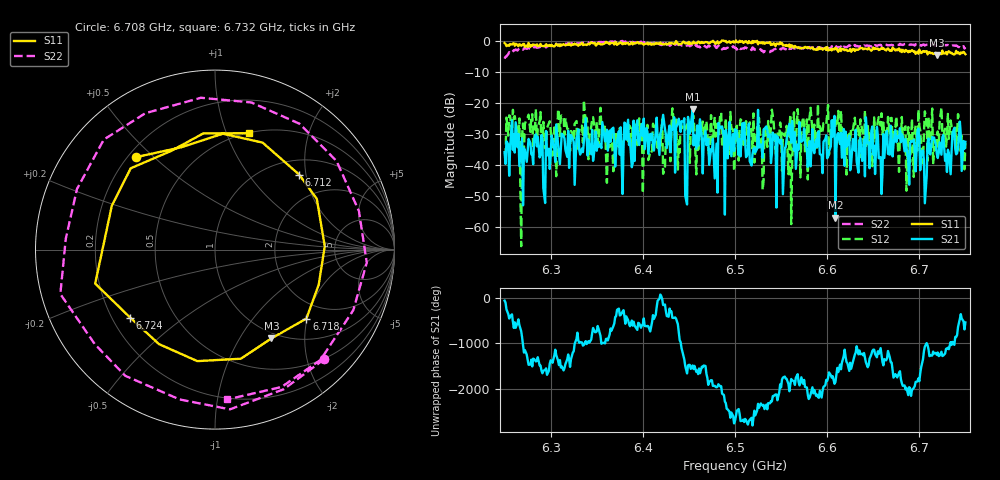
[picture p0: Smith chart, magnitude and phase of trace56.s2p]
# Hz S RI R 50
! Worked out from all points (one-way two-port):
!   401 points, 6.25 GHz to 6.75 GHz, reference 50 ohm
!   highest |S21| = -21.99 dB at 6.454 GHz (marker M1); lowest = -57.0 dB at 6.609 GHz (marker M2)
!   lowest |S11| = -4.6 dB at 6.719 GHz (marker M3), VSWR 3.83, Z = 45.9 - j69.2 ohm
!   |S11| at or under -10 dB: nowhere
!   |S22| runs from -5.8 to -0.1 dB; largest |S21 - S12| = 0.12
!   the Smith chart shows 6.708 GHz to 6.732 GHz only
!   S11 on the Smith chart (normalised r, x): 6.708 GHz: 0.23, +0.44; 6.712 GHz: 1.33, +1.83; 6.718 GHz: 1.53, -1.98; 6.724 GHz: 0.27, -0.33; 6.732 GHz: 0.50, +1.20
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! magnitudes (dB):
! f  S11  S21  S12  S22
! 6.25 GHz  -0.8  -35.9  -36.1  -5.8
! 6.258 GHz  -1.3  -25.7  -29.6  -3.7
! 6.27 GHz  -1.1  -53.0  -26.6  -2.9
! 6.334 GHz  -0.7  -34.6  -27.4  -0.7
! 6.418 GHz  -1.0  -36.8  -30.0  -1.2
! 6.454 GHz  -0.9  -22.0  -24.0  -1.8
! 6.479 GHz  -1.0  -38.6  -30.8  -2.0
! 6.485 GHz  -0.3  -27.9  -23.2  -2.0
! 6.5 GHz  -0.5  -28.5  -34.1  -2.4
! 6.532 GHz  -1.0  -28.3  -27.4  -3.4
! 6.539 GHz  -1.4  -39.4  -27.9  -3.3
! 6.56 GHz  -2.2  -30.3  -23.8  -2.6
! 6.584 GHz  -2.2  -28.4  -28.9  -2.2
! 6.609 GHz  -2.3  -57.0  -27.4  -2.3
! 6.668 GHz  -3.2  -36.6  -30.3  -1.4
! 6.708 GHz  -3.4  -43.6  -26.3  -1.3
! 6.712 GHz  -4.0  -36.6  -33.6  -1.3
! 6.718 GHz  -3.9  -33.8  -35.6  -1.5
! 6.719 GHz  -4.6  -36.4  -30.7  -1.2
! 6.724 GHz  -4.4  -36.7  -21.5  -1.5
! 6.732 GHz  -3.4  -36.0  -31.6  -1.5
! 6.75 GHz  -4.4  -32.6  -33.0  -2.2
